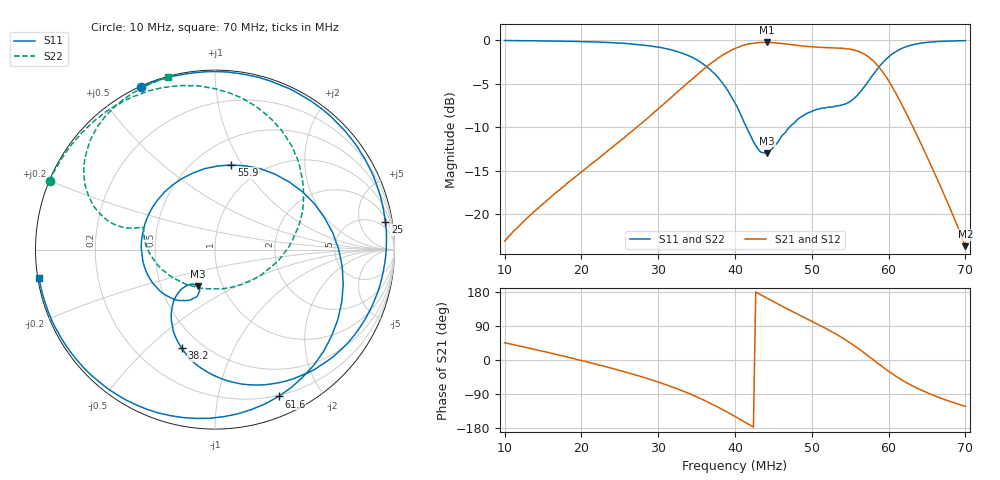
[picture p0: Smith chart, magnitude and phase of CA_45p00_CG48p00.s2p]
#  HZ  S  RI  R  50.00
! Rohde & Schwarz ZVT8 8Ports - Version 4.11 - 1300.0000k08 SN: 100242
! Date: 2026-07-31 14:55:54
! Measurements: S11 S21 S12 S22
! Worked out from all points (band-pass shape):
!   201 points, 10 MHz to 70 MHz, reference 50 ohm
!   highest |S21| = -0.26 dB at 44.2 MHz (marker M1); lowest = -23.7 dB at 70 MHz (marker M2)
!   |S21| within 3 dB of the highest: 36.02 MHz to 58.89 MHz (22.87 MHz wide, 48.2 % of centre)
!   lowest |S11| = -13.0 dB at 44.2 MHz (marker M3), VSWR 1.58, Z = 38.3 - j16.4 ohm
!   |S11| at or under -10 dB: 41.51 MHz to 47.1 MHz (5.588 MHz wide, 12.6 % of centre)
!   |S22| runs from -13.2 to 0.0 dB; largest |S21 - S12| = 0.0034
!   S11 on the Smith chart (normalised r, x): 10 MHz: 0.00, +0.65; 25 MHz: 3, +12; 38.2 MHz: 0.39, -0.64; 55.9 MHz: 0.73, +0.90; 61.6 MHz: 0.19, -1.51; 70 MHz: 0.00, -0.08
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1e7  -0.4097 0.908  0.0491 0.0501  0.0489 0.0502  -0.9204 0.3821
1.51e7  0.173 0.9742  0.1072 0.0439  0.107 0.044  -0.8103 0.568
2.02e7  0.699 0.6874  0.1777 -0.00713  0.1771 -0.00712  -0.6468 0.7365
2.5e7  0.9499 0.1537  0.2323 -0.1223  0.2324 -0.1228  -0.4179 0.8669
3.01e7  0.7753 -0.4779  0.2103 -0.3482  0.2109 -0.3477  -0.0675 0.9085
3.43e7  0.2756 -0.7534  -0.00986 -0.5919  -0.00878 -0.5911  0.2939 0.7451
3.82e7  -0.1856 -0.5496  -0.5083 -0.6307  -0.508 -0.6309  0.4922 0.3037
4e7  -0.2445 -0.3606  -0.7676 -0.462  -0.7672 -0.4601  0.4307 0.0509
4.21e7  -0.1789 -0.2138  -0.9492 -0.1098  -0.9509 -0.1107  0.221 -0.1625
4.42e7  -0.0949 -0.204  -0.9266 0.2894  -0.9253 0.2897  -0.0366 -0.2186
4.72e7  -0.1486 -0.2828  -0.6154 0.7153  -0.6146 0.7146  -0.3009 -0.1066
5.02e7  -0.3471 -0.1863  -0.1643 0.8995  -0.1648 0.8999  -0.3897 0.0491
5.32e7  -0.373 0.1887  0.3402 0.8353  0.3407 0.8348  -0.4031 0.1225
5.59e7  0.0913 0.4717  0.7314 0.4666  0.73 0.4668  -0.4734 0.1191
5.71e7  0.4113 0.3783  0.7914 0.2056  0.7894 0.2065  -0.5507 0.1368
5.83e7  0.6555 0.0946  0.7344 -0.0529  0.7348 -0.0524  -0.6379 0.1969
6.01e7  0.6509 -0.4788  0.4917 -0.2978  0.4896 -0.2982  -0.7251 0.3664
6.16e7  0.3542 -0.8183  0.274 -0.3407  0.2742 -0.3406  -0.7195 0.5301
6.31e7  -0.0292 -0.9399  0.1204 -0.2997  0.1196 -0.2987  -0.6637 0.6688
6.46e7  -0.3772 -0.8905  0.0298 -0.2318  0.0296 -0.2314  -0.5811 0.773
6.73e7  -0.8039 -0.5722  -0.0315 -0.1234  -0.032 -0.1234  -0.4186 0.8953
7e7  -0.9815 -0.156  -0.0353 -0.0553  -0.0353 -0.0552  -0.2591 0.96
